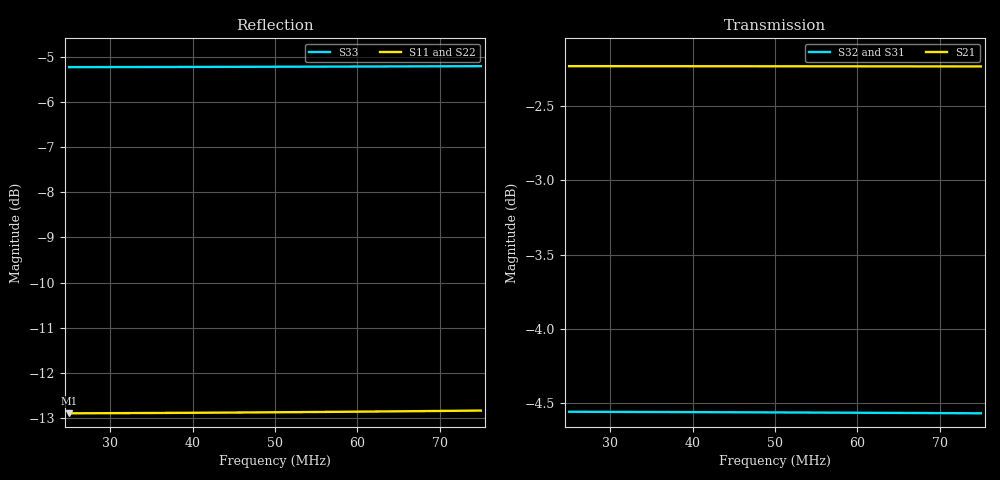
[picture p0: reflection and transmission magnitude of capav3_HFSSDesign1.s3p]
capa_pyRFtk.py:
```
"""
Comparaison de la capacite simulee en HFSS avec une reconstruction analytique pyRFtk.
"""

import os
os.environ['OPENBLAS_NUM_THREADS'] = '{:d}'.format(2)

import re
import numpy as np
import matplotlib.pyplot as pl

from pyRFtk import rfCircuit, rfObject, rfTRL




def readvar(s):
    # split off the units
    try:
        val, unit = re.findall(r'([+-]?[0-9]+\.?[0-9]*)([A-Za-z]+)', s)[0]
    except (IndexError, ValueError):
        raise ValueError(f'could not understand {s!r} as a value, unit pair')

    val = float(val)
    if unit == 'mm':
        return val / 1000.0
    elif unit in ('m', 'ohm'):
        return val
    else:
        return None


def plotSij(circuit, fHzs, title='title', port_labels=None):
    """Trace Re/Im de tous les Sij"""
    SS = circuit.getS(fHzs)
    n = SS.shape[-1]
    if port_labels is None or len(port_labels) != n:
        port_labels = [str(i + 1) for i in range(n)]

    fig, axes = pl.subplots(n, n, figsize=(3.2 * n, 2.6 * n), sharex=True)
    fig.suptitle(title)
    for i in range(n):
        for j in range(n):
            ax = axes[i, j] if n > 1 else axes
            ax.plot(fHzs / 1e6, SS[:, i, j].real, 'r', lw=1, label='Re')
            ax.plot(fHzs / 1e6, SS[:, i, j].imag, 'b:', lw=1, label='Im')
            ax.set_title(f'S$_{{{port_labels[i]},{port_labels[j]}}}$', fontsize=9)
            ax.set_ylim(-1, 1)
            ax.grid(alpha=0.3)
            if i == n - 1:
                ax.set_xlabel('f [MHz]')
    axes_flat = list(axes.flat) if n > 1 else [axes]
    axes_flat[0].legend(loc='best', fontsize=8)
    fig.tight_layout()
    return fig


# ============================================================================
# 1. CHARGER L'EXPORT HFSS 
# ============================================================================

PATH_S3P = 'capav3_HFSSDesign1.s3p'  # nom du fichier

obj = rfObject(touchstone=PATH_S3P)

print("Variables exportees par HFSS :")
for k, v in obj.variables.items():
    print(f"   {k} = {v}")
print()
print(obj)

plotSij(obj, obj.fs, title='Touchstone HFSS - capa 3 ports',
        port_labels=['1 (gauche)', '2 (droite)', '3 (haut)'])


# ============================================================================
# 2. RECUPERER LES PARAMETRES GEOMETRIQUES DEPUIS LES VARIABLES HFSS
# ============================================================================
Rlittle_c = readvar(obj.variables['Rlittle_c'])  # rayon electrode (conducteur, port 3)
Rint_v    = readvar(obj.variables['Rint_v'])     # rayon du vide autour de l'electrode
Rperp_c   = readvar(obj.variables['Rperp_c'])    # rayon de la tige perpendiculaire (conducteur, ports 1-2)
Rperp_v   = readvar(obj.variables['Rperp_v'])    # rayon du vide autour de la tige ports 1-2
Hperp_v   = readvar(obj.variables['Hperp_v'])    # longueur totale de la tige (vide, ports 1<->2)
H2_v      = readvar(obj.variables['H2_v'])       



# Impedances caracteristiques (formule coax air, Z0 = 60*ln(D/d)) :
#   branches 1-2 (tige)     : D = Rperp_v, d = Rperp_c  -> ~24.3 ohm
#   branche 3 (electrode)   : D = Rint_v,  d = Rlittle_c -> ~41.6 ohm
# Il faudrait que idéalement ajuster ca dans HFSS pour que Z0 soit = 50 ohm
Z0_tige = 60.0 * np.log(Rperp_v / Rperp_c) if Rperp_v > Rperp_c else 50.0
Z0_port3 = 60.0 * np.log(Rint_v / Rlittle_c) if Rint_v > Rlittle_c else 50.0

print(f"\nZ0 estimee branches 1-2 (tige)      : {Z0_tige:.1f} ohm")
print(f"Z0 estimee branche 3 (electrode)    : {Z0_port3:.1f} ohm")


# ============================================================================
# 3. RECONSTRUCTION DU CIRCUIT AVEC PYRFTK
# ============================================================================
def construire_circuit_capa(Z0_tige_val, Z0_port3_val,
                             L_tige=Hperp_v, L_port3=H2_v):
    ct = rfCircuit(Zbase=Z0_tige_val)

    # 2 demi-troncons de la tige (branches 1 et 2 de la croix)
    ct.addblock('tigeA', rfTRL(L=L_tige / 2, Z0TL=Z0_tige_val,
                                ports=['p1', 'croix']))
    ct.addblock('tigeB', rfTRL(L=L_tige / 2, Z0TL=Z0_tige_val,
                                ports=['croix', 'p2']))

    # branche 3 : l'electrode 
    ct.addblock('electrode', rfTRL(L=L_port3, Z0TL=Z0_port3_val,
                                     ports=['croix', 'p3']))

    # jonction en croix : connecte les 3 branches entre elles
    ct.connect('tigeA.croix', 'tigeB.croix', 'electrode.croix')

    ct.connect('1', 'tigeA.p1')
    ct.connect('2', 'tigeB.p2')
    ct.connect('3', 'electrode.p3')

    return ct


ct = construire_circuit_capa(Z0_tige, Z0_port3)
print("\nCircuit pyRFtk construit :")
print(ct.asstr(-1))

plotSij(ct, obj.fs, title='Reconstruction pyRFtk - capa 3 ports',
        port_labels=['1 (gauche)', '2 (droite)', '3 (haut)'])


# ============================================================================
# 4. COMPARAISON CHIFFREE A UNE FREQUENCE DE REFERENCE (32.5 MHz)
# ============================================================================

f_ref = 32.5e6
S_touchstone = obj.getS(np.array([f_ref]))[0]
S_pyrftk = ct.getS(np.array([f_ref]))[0]

print(f"\n{'='*70}")
print(f"COMPARAISON a f = {f_ref/1e6:.1f} MHz")
print(f"{'='*70}")
print(f"{'Sij':<8} {'|S| Touchstone':>16} {'|S| pyRFtk':>14} {'ecart':>10}")
for i in range(3):
    for j in range(3):
        st = abs(S_touchstone[i, j])
        sp = abs(S_pyrftk[i, j])
        print(f"S{i+1}{j+1}     {st:>16.4f} {sp:>14.4f} {abs(st-sp):>10.4f}")

pl.show()
```
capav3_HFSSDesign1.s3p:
! Touchstone file exported from HFSS 2025.2.0
!  File:  C:/Users/32474/OneDrive - UCL/Documents/Ingenieur/MASTER1/Stage/HFSS/capav3.aedt
!  Generated:  03:03:22 PM Jun 23, 2026
!  Design:  HFSSDesign1
!  Project:  capav3
!  Setup:  Setup1
!  Solution:  Sweep
! Variables:
!  $H1_v = 400mm
!  $H2_v = 300mm
!  $Rext_v = 150mm
!  $Rint_v = 100mm
!  $Rperp_v = 75mm
!  $z_perp_v = 120mm
!  H1_v = 40mm
!  H2_v = 30mm
!  H_diel = 5mm
!  Hbig_c = 25mm
!  Hperp_v = 60mm
!  Hperp_vdiv2 = 60
!  Rbig_c = 12mm
!  Rext_v = 15mm
!  Rint_v = 8mm
!  Rlittle_c = 4mm
!  Rperp_c = 4mm
!  Rperp_v = 6mm
!  z_diel = 5mm
!  zperp = 30
!  zperp_v = 21mm
!Data is not renormalized
# GHz S MA
! Terminal data exported
! Port[1] = 1
! Port[2] = 2
! Port[3] = 3
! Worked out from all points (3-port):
!   51 points, 25 MHz to 75 MHz, reference per port
!   strongest paths, dB at 25 MHz, 37 MHz, 50 MHz, 63 MHz, 75 MHz:
!     S21: -2.2, -2.2, -2.2, -2.2, -2.2
!     S32: -4.6, -4.6, -4.6, -4.6, -4.6
!     S31: -4.6, -4.6, -4.6, -4.6, -4.6
!   lowest |S11| = -12.9 dB at 25 MHz (marker M1), VSWR 1.59
!   |S11| at or under -10 dB: start of sweep to end of sweep
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0.025  0.2266 -180.0  0.7736 -2.6  0.5915 -2.1
       0.7736 -2.6  0.2265 -180.0  0.5916 -2.1
       0.5915 -2.1  0.5916 -2.1  0.5477 179.5
0.037  0.2268 -179.9  0.7736 -3.8  0.5914 -3.1
       0.7736 -3.8  0.2267 -179.9  0.5915 -3.1
       0.5914 -3.1  0.5915 -3.1  0.5479 179.2
0.05  0.2272 -179.9  0.7735 -5.2  0.5912 -4.2
      0.7735 -5.2  0.2271 -179.9  0.5913 -4.2
      0.5912 -4.2  0.5913 -4.2  0.5482 179.0
0.062  0.2276 -179.9  0.7735 -6.4  0.5911 -5.2
       0.7735 -6.4  0.2275 -179.9  0.5911 -5.2
       0.5911 -5.2  0.5911 -5.2  0.5486 178.7
0.075  0.2282 -179.9  0.7734 -7.7  0.5908 -6.3
       0.7734 -7.7  0.2281 -179.9  0.5909 -6.3
       0.5908 -6.3  0.5909 -6.3  0.549 178.4
